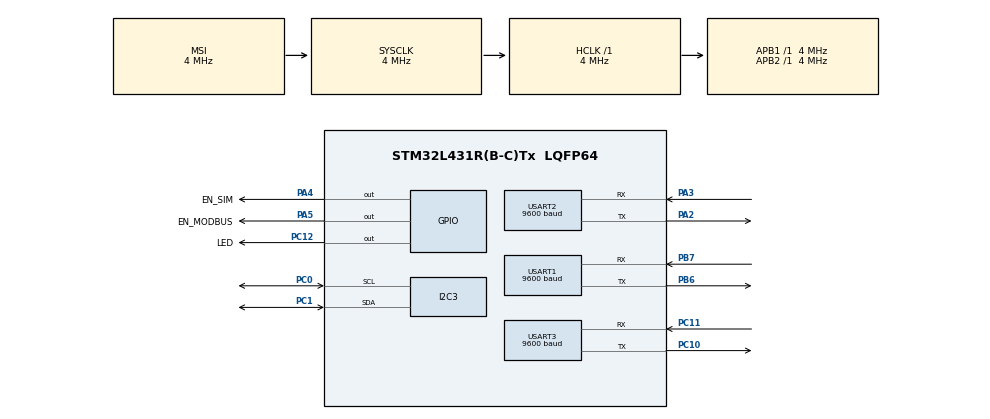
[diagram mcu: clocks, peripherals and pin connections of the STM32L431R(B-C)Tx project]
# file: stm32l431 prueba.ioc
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I2C3.CustomTiming=Disabled
Mcu.Family=STM32L4
Mcu.Name=STM32L431R(B-C)Tx
Mcu.Package=LQFP64
NVIC.PriorityGroup=NVIC_PRIORITYGROUP_4
NVIC.RTC_Alarm_IRQn=true\:0\:0\:false\:false\:true\:true\:true\:true
PA13\ (JTMS-SWDIO).Mode=Serial_Wire
PA13\ (JTMS-SWDIO).Signal=SYS_JTMS-SWDIO
PA14\ (JTCK-SWCLK).Mode=Serial_Wire
PA14\ (JTCK-SWCLK).Signal=SYS_JTCK-SWCLK
PA2.Mode=Asynchronous
PA2.Signal=USART2_TX
PA3.Mode=Asynchronous
PA3.Signal=USART2_RX
PA4.GPIO_Label=EN_SIM
PA4.GPIO_PuPd=GPIO_NOPULL
PA4.Signal=GPIO_Output
PA5.GPIO_Label=EN_MODBUS
PA5.Signal=GPIO_Output
PB6.Mode=Asynchronous
PB6.Signal=USART1_TX
PB7.Mode=Asynchronous
PB7.Signal=USART1_RX
PC0.GPIO_Pu=GPIO_PULLUP
PC0.Mode=I2C
PC0.Signal=I2C3_SCL
PC1.GPIO_Pu=GPIO_PULLUP
PC1.Mode=I2C
PC1.Signal=I2C3_SDA
PC10.Mode=Asynchronous
PC10.Signal=USART3_TX
PC11.Mode=Asynchronous
PC11.Signal=USART3_RX
PC12.GPIO_Label=LED
PC12.Signal=GPIO_Output
PC14-OSC32_IN\ (PC14).Mode=LSE-External-Oscillator
PC14-OSC32_IN\ (PC14).Signal=RCC_OSC32_IN
PC15-OSC32_OUT\ (PC15).Mode=LSE-External-Oscillator
PC15-OSC32_OUT\ (PC15).Signal=RCC_OSC32_OUT
PH0-OSC_IN\ (PH0).Mode=HSE-External-Oscillator
PH0-OSC_IN\ (PH0).Signal=RCC_OSC_IN
PH1-OSC_OUT\ (PH1).Mode=HSE-External-Oscillator
PH1-OSC_OUT\ (PH1).Signal=RCC_OSC_OUT
ProjectManager.HeapSize=0x200
ProjectManager.StackSize=0x400
ProjectManager.TargetToolchain=STM32CubeIDE
RCC.ADCFreq_Value=32000000
RCC.AHBFreq_Value=4000000
RCC.APB1Freq_Value=4000000
RCC.APB1TimFreq_Value=4000000
RCC.APB2Freq_Value=4000000
RCC.APB2TimFreq_Value=4000000
RCC.CortexFreq_Value=4000000
RCC.HCLKFreq_Value=4000000
RCC.HSE_VALUE=8000000
RCC.HSI48_VALUE=48000000
RCC.HSI_VALUE=16000000
RCC.MSI_VALUE=4000000
RCC.PLLSourceVirtual=RCC_PLLSOURCE_HSE
RCC.RTCClockSelection=RCC_RTCCLKSOURCE_LSE
RCC.SYSCLKFreq_VALUE=4000000
RCC.VCOOutputFreq_Value=64000000
RTC.Alarm-Alarm\ A=RTC_ALARM_A
RTC.Date=15
RTC.Hours=15
RTC.Hours_A-Alarm\ A=0
RTC.Minutes_A-Alarm\ A=0
RTC.Month=RTC_MONTH_MARCH
RTC.Seconds_A-Alarm\ A=30
RTC.WeekDay=RTC_WEEKDAY_WEDNESDAY
RTC.Year=23
USART1.BaudRate=9600
USART1.VirtualMode-Asynchronous=VM_ASYNC
USART2.BaudRate=9600
USART2.VirtualMode-Asynchronous=VM_ASYNC
USART3.BaudRate=9600
USART3.VirtualMode-Asynchronous=VM_ASYNC
VP_RTC_VS_RTC_Activate.Mode=RTC_Enabled
VP_RTC_VS_RTC_Alarm_A_Intern.Mode=Alarm A
VP_RTC_VS_RTC_Calendar.Mode=RTC_Calendar
board=custom

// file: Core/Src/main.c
/* USER CODE BEGIN Header */
/**
  ******************************************************************************
  * @file           : main.c
  * @brief          : Main program body
  ******************************************************************************
  * @attention
  *
  * <h2><center>&copy; Copyright (c) 2023 STMicroelectronics.
  * All rights reserved.</center></h2>
  *
  * This software component is licensed by ST under BSD 3-Clause license,
  * the "License"; You may not use this file except in compliance with the
  * License. You may obtain a copy of the License at:
  *                        opensource.org/licenses/BSD-3-Clause
  *
  ******************************************************************************
  */
/* USER CODE END Header */
#include "main.h"

/* USER CODE BEGIN Includes */
#include <ina219.h>

/* USER CODE END Includes */

I2C_HandleTypeDef hi2c3;

RTC_HandleTypeDef hrtc;

UART_HandleTypeDef huart1;
UART_HandleTypeDef huart2;
UART_HandleTypeDef huart3;

/* USER CODE BEGIN PV */
extern int adrs_219;

/* USER CODE END PV */

void SystemClock_Config(void);
static void MX_GPIO_Init(void);
static void MX_USART1_UART_Init(void);
static void MX_I2C3_Init(void);
static void MX_USART2_UART_Init(void);
static void MX_USART3_UART_Init(void);
static void MX_RTC_Init(void);
/* USER CODE BEGIN PFP */
static void RTC_Config(uint8_t year, uint8_t month, uint8_t date, uint8_t weekday, uint8_t hour, uint8_t minute, uint8_t second);
/* USER CODE END PFP */

/* USER CODE BEGIN 0 */
static void RTC_Config(uint8_t year, uint8_t month, uint8_t date, uint8_t weekday, uint8_t hour, uint8_t minute, uint8_t second)
{
  RTC_DateTypeDef  sDate;
  RTC_TimeTypeDef  sTime;

  sDate.Year = year;
  sDate.Month = month;
  sDate.Date = date;
  sDate.WeekDay = weekday;

  if(HAL_RTC_SetDate(&hrtc,&sDate,RTC_FORMAT_BCD) != HAL_OK)
  {
    /* Initialization Error */
    Error_Handler();
  }

  sTime.Hours = hour;
  sTime.Minutes = minute;
  sTime.Seconds = second;
  sTime.TimeFormat = RTC_HOURFORMAT_24;
  sTime.DayLightSaving = RTC_DAYLIGHTSAVING_NONE ;
  sTime.StoreOperation = RTC_STOREOPERATION_RESET;

  if(HAL_RTC_SetTime(&hrtc,&sTime,RTC_FORMAT_BCD) != HAL_OK)
  {
    /* Initialization Error */
    Error_Handler();
  }
}

static void RTC_Alarm(uint8_t h, uint8_t m, uint8_t s)
{
  RTC_AlarmTypeDef sAlarm;
  /*##-3- Configure the RTC Alarm peripheral #################################*/
  /* Set Alarm to 02:20:10
     RTC Alarm Generation: Alarm on Hours, Minutes and Seconds */
  sAlarm.Alarm = RTC_ALARM_A;
  sAlarm.AlarmDateWeekDay = RTC_WEEKDAY_MONDAY;
  sAlarm.AlarmDateWeekDaySel = RTC_ALARMDATEWEEKDAYSEL_WEEKDAY;
  sAlarm.AlarmMask = RTC_ALARMMASK_DATEWEEKDAY;
  sAlarm.AlarmSubSecondMask = RTC_ALARMSUBSECONDMASK_NONE;
  sAlarm.AlarmTime.TimeFormat = RTC_HOURFORMAT12_AM;
  sAlarm.AlarmTime.Hours = h;//0x02;
  sAlarm.AlarmTime.Minutes = m;//0x20;
  sAlarm.AlarmTime.Seconds = s;//0x10;
  sAlarm.AlarmTime.SubSeconds = 0x56;

  if(HAL_RTC_SetAlarm_IT(&hrtc,&sAlarm,RTC_FORMAT_BCD) != HAL_OK)
  {
    /* Initialization Error */
    Error_Handler();
  }
}

uint32_t ina_curr = 0;
uint32_t ina_vol = 0;
uint32_t ina_pwr = 0;
uint8_t cnt = 0;
uint8_t channel=0;
/* USER CODE END 0 */

int main(void)
{

  /* MCU Configuration--------------------------------------------------------*/

  /* Reset of all peripherals, Initializes the Flash interface and the Systick. */
  HAL_Init();

  /* Configure the system clock */
  SystemClock_Config();

  /* Initialize all configured peripherals */
  MX_GPIO_Init();
  MX_USART1_UART_Init();
  MX_I2C3_Init();
  MX_USART2_UART_Init();
  MX_USART3_UART_Init();
  MX_RTC_Init();
  /* USER CODE BEGIN 2 */
  // RTC
  RTC_DateTime_Show(string);
  RTC_AlarmShow(string);

  RTC_Config(0x23,0x03,0x15,0x03,0x15,0x00,0x00); // YEAR,MONTH,DATE,WEEKDAY,HOUR,MINUTE,SECOND)
  RTC_Alarm(0x02,0x20,0x10);
  //
  // INIT GPIO OUTPUTS
  HAL_GPIO_WritePin(LED_GPIO_Port, LED_Pin, 0); //LED PIN OFF
  HAL_GPIO_WritePin(EN_MODBUS_GPIO_Port, EN_MODBUS_Pin, 0); //MODBUS POWER OFF
  HAL_GPIO_WritePin(EN_SIM_GPIO_Port, EN_SIM_Pin, 0); //SIM RST PIN OFF
  //Init current voltage sensor
  adrs_219 = 0x40;
  setCalibration_32V_1A();
  //
  /* USER CODE END 2 */

  /* Infinite loop */
  /* USER CODE BEGIN WHILE */
  while (1)
  {
  RTC_DateTime_Show(string);
    /* USER CODE END WHILE */

    /* USER CODE BEGIN 3 */
	adrs_219 = 0x40;
	ina_curr = getCurrent_mA();
	ina_vol = getBusVoltage_V();
	ina_pwr = getPower_mW();
  }
  /* USER CODE END 3 */
}

void SystemClock_Config(void)
{
  RCC_OscInitTypeDef RCC_OscInitStruct = {0};
  RCC_ClkInitTypeDef RCC_ClkInitStruct = {0};

  /** Configure the main internal regulator output voltage
  */
  if (HAL_PWREx_ControlVoltageScaling(PWR_REGULATOR_VOLTAGE_SCALE1) != HAL_OK)
  {
    Error_Handler();
  }

  /** Configure LSE Drive Capability
  */
  HAL_PWR_EnableBkUpAccess();
  __HAL_RCC_LSEDRIVE_CONFIG(RCC_LSEDRIVE_LOW);

  /** Initializes the RCC Oscillators according to the specified parameters
  * in the RCC_OscInitTypeDef structure.
  */
  RCC_OscInitStruct.OscillatorType = RCC_OSCILLATORTYPE_LSE|RCC_OSCILLATORTYPE_MSI;
  RCC_OscInitStruct.LSEState = RCC_LSE_ON;
  RCC_OscInitStruct.MSIState = RCC_MSI_ON;
  RCC_OscInitStruct.MSICalibrationValue = 0;
  RCC_OscInitStruct.MSIClockRange = RCC_MSIRANGE_6;
  RCC_OscInitStruct.PLL.PLLState = RCC_PLL_NONE;
  if (HAL_RCC_OscConfig(&RCC_OscInitStruct) != HAL_OK)
  {
    Error_Handler();
  }

  /** Initializes the CPU, AHB and APB buses clocks
  */
  RCC_ClkInitStruct.ClockType = RCC_CLOCKTYPE_HCLK|RCC_CLOCKTYPE_SYSCLK
                              |RCC_CLOCKTYPE_PCLK1|RCC_CLOCKTYPE_PCLK2;
  RCC_ClkInitStruct.SYSCLKSource = RCC_SYSCLKSOURCE_MSI;
  RCC_ClkInitStruct.AHBCLKDivider = RCC_SYSCLK_DIV1;
  RCC_ClkInitStruct.APB1CLKDivider = RCC_HCLK_DIV1;
  RCC_ClkInitStruct.APB2CLKDivider = RCC_HCLK_DIV1;

  if (HAL_RCC_ClockConfig(&RCC_ClkInitStruct, FLASH_LATENCY_0) != HAL_OK)
  {
    Error_Handler();
  }

  /** Enable MSI Auto calibration
  */
  HAL_RCCEx_EnableMSIPLLMode();
}

static void MX_I2C3_Init(void)
{

  hi2c3.Instance = I2C3;
  hi2c3.Init.Timing = 0x00000E14;
  hi2c3.Init.OwnAddress1 = 0;
  hi2c3.Init.AddressingMode = I2C_ADDRESSINGMODE_7BIT;
  hi2c3.Init.DualAddressMode = I2C_DUALADDRESS_DISABLE;
  hi2c3.Init.OwnAddress2 = 0;
  hi2c3.Init.OwnAddress2Masks = I2C_OA2_NOMASK;
  hi2c3.Init.GeneralCallMode = I2C_GENERALCALL_DISABLE;
  hi2c3.Init.NoStretchMode = I2C_NOSTRETCH_DISABLE;
  if (HAL_I2C_Init(&hi2c3) != HAL_OK)
  {
    Error_Handler();
  }

  /** Configure Analogue filter
  */
  if (HAL_I2CEx_ConfigAnalogFilter(&hi2c3, I2C_ANALOGFILTER_ENABLE) != HAL_OK)
  {
    Error_Handler();
  }

  /** Configure Digital filter
  */
  if (HAL_I2CEx_ConfigDigitalFilter(&hi2c3, 0) != HAL_OK)
  {
    Error_Handler();
  }

}

static void MX_RTC_Init(void)
{

  RTC_TimeTypeDef sTime = {0};
  RTC_DateTypeDef sDate = {0};
  RTC_AlarmTypeDef sAlarm = {0};

  /** Initialize RTC Only
  */
  hrtc.Instance = RTC;
  hrtc.Init.HourFormat = RTC_HOURFORMAT_24;
  hrtc.Init.AsynchPrediv = 127;
  hrtc.Init.SynchPrediv = 255;
  hrtc.Init.OutPut = RTC_OUTPUT_DISABLE;
  hrtc.Init.OutPutRemap = RTC_OUTPUT_REMAP_NONE;
  hrtc.Init.OutPutPolarity = RTC_OUTPUT_POLARITY_HIGH;
  hrtc.Init.OutPutType = RTC_OUTPUT_TYPE_OPENDRAIN;
  if (HAL_RTC_Init(&hrtc) != HAL_OK)
  {
    Error_Handler();
  }

  /** Initialize RTC and set the Time and Date
  */
  sTime.Hours = 0x15;
  sTime.Minutes = 0x0;
  sTime.Seconds = 0x0;
  sTime.DayLightSaving = RTC_DAYLIGHTSAVING_NONE;
  sTime.StoreOperation = RTC_STOREOPERATION_RESET;
  if (HAL_RTC_SetTime(&hrtc, &sTime, RTC_FORMAT_BCD) != HAL_OK)
  {
    Error_Handler();
  }
  sDate.WeekDay = RTC_WEEKDAY_WEDNESDAY;
  sDate.Month = RTC_MONTH_MARCH;
  sDate.Date = 0x15;
  sDate.Year = 0x23;

  if (HAL_RTC_SetDate(&hrtc, &sDate, RTC_FORMAT_BCD) != HAL_OK)
  {
    Error_Handler();
  }

  /** Enable the Alarm A
  */
  sAlarm.AlarmTime.Hours = 0x0;
  sAlarm.AlarmTime.Minutes = 0x0;
  sAlarm.AlarmTime.Seconds = 0x30;
  sAlarm.AlarmTime.SubSeconds = 0x0;
  sAlarm.AlarmTime.DayLightSaving = RTC_DAYLIGHTSAVING_NONE;
  sAlarm.AlarmTime.StoreOperation = RTC_STOREOPERATION_RESET;
  sAlarm.AlarmMask = RTC_ALARMMASK_NONE;
  sAlarm.AlarmSubSecondMask = RTC_ALARMSUBSECONDMASK_ALL;
  sAlarm.AlarmDateWeekDaySel = RTC_ALARMDATEWEEKDAYSEL_DATE;
  sAlarm.AlarmDateWeekDay = 0x1;
  sAlarm.Alarm = RTC_ALARM_A;
  if (HAL_RTC_SetAlarm_IT(&hrtc, &sAlarm, RTC_FORMAT_BCD) != HAL_OK)
  {
    Error_Handler();
  }

}

static void MX_USART1_UART_Init(void)
{

  huart1.Instance = USART1;
  huart1.Init.BaudRate = 9600;
  huart1.Init.WordLength = UART_WORDLENGTH_8B;
  huart1.Init.StopBits = UART_STOPBITS_1;
  huart1.Init.Parity = UART_PARITY_NONE;
  huart1.Init.Mode = UART_MODE_TX_RX;
  huart1.Init.HwFlowCtl = UART_HWCONTROL_NONE;
  huart1.Init.OverSampling = UART_OVERSAMPLING_16;
  huart1.Init.OneBitSampling = UART_ONE_BIT_SAMPLE_DISABLE;
  huart1.AdvancedInit.AdvFeatureInit = UART_ADVFEATURE_NO_INIT;
  if (HAL_UART_Init(&huart1) != HAL_OK)
  {
    Error_Handler();
  }

}

static void MX_USART2_UART_Init(void)
{

  huart2.Instance = USART2;
  huart2.Init.BaudRate = 9600;
  huart2.Init.WordLength = UART_WORDLENGTH_8B;
  huart2.Init.StopBits = UART_STOPBITS_1;
  huart2.Init.Parity = UART_PARITY_NONE;
  huart2.Init.Mode = UART_MODE_TX_RX;
  huart2.Init.HwFlowCtl = UART_HWCONTROL_NONE;
  huart2.Init.OverSampling = UART_OVERSAMPLING_16;
  huart2.Init.OneBitSampling = UART_ONE_BIT_SAMPLE_DISABLE;
  huart2.AdvancedInit.AdvFeatureInit = UART_ADVFEATURE_NO_INIT;
  if (HAL_UART_Init(&huart2) != HAL_OK)
  {
    Error_Handler();
  }

}

static void MX_USART3_UART_Init(void)
{

  huart3.Instance = USART3;
  huart3.Init.BaudRate = 9600;
  huart3.Init.WordLength = UART_WORDLENGTH_8B;
  huart3.Init.StopBits = UART_STOPBITS_1;
  huart3.Init.Parity = UART_PARITY_NONE;
  huart3.Init.Mode = UART_MODE_TX_RX;
  huart3.Init.HwFlowCtl = UART_HWCONTROL_NONE;
  huart3.Init.OverSampling = UART_OVERSAMPLING_16;
  huart3.Init.OneBitSampling = UART_ONE_BIT_SAMPLE_DISABLE;
  huart3.AdvancedInit.AdvFeatureInit = UART_ADVFEATURE_NO_INIT;
  if (HAL_UART_Init(&huart3) != HAL_OK)
  {
    Error_Handler();
  }

}

static void MX_GPIO_Init(void)
{
  GPIO_InitTypeDef GPIO_InitStruct = {0};

  /* GPIO Ports Clock Enable */
  __HAL_RCC_GPIOC_CLK_ENABLE();
  __HAL_RCC_GPIOH_CLK_ENABLE();
  __HAL_RCC_GPIOA_CLK_ENABLE();
  __HAL_RCC_GPIOB_CLK_ENABLE();

  /*Configure GPIO pin Output Level */
  HAL_GPIO_WritePin(GPIOA, EN_SIM_Pin|EN_MODBUS_Pin, GPIO_PIN_RESET);

  /*Configure GPIO pin Output Level */
  HAL_GPIO_WritePin(LED_GPIO_Port, LED_Pin, GPIO_PIN_RESET);

  /*Configure GPIO pins : EN_SIM_Pin EN_MODBUS_Pin */
  GPIO_InitStruct.Pin = EN_SIM_Pin|EN_MODBUS_Pin;
  GPIO_InitStruct.Mode = GPIO_MODE_OUTPUT_PP;
  GPIO_InitStruct.Pull = GPIO_NOPULL;
  GPIO_InitStruct.Speed = GPIO_SPEED_FREQ_LOW;
  HAL_GPIO_Init(GPIOA, &GPIO_InitStruct);

  /*Configure GPIO pin : LED_Pin */
  GPIO_InitStruct.Pin = LED_Pin;
  GPIO_InitStruct.Mode = GPIO_MODE_OUTPUT_PP;
  GPIO_InitStruct.Pull = GPIO_NOPULL;
  GPIO_InitStruct.Speed = GPIO_SPEED_FREQ_LOW;
  HAL_GPIO_Init(LED_GPIO_Port, &GPIO_InitStruct);

}

void Error_Handler(void)
{
  __disable_irq();
  while (1)
  {
  }
}
